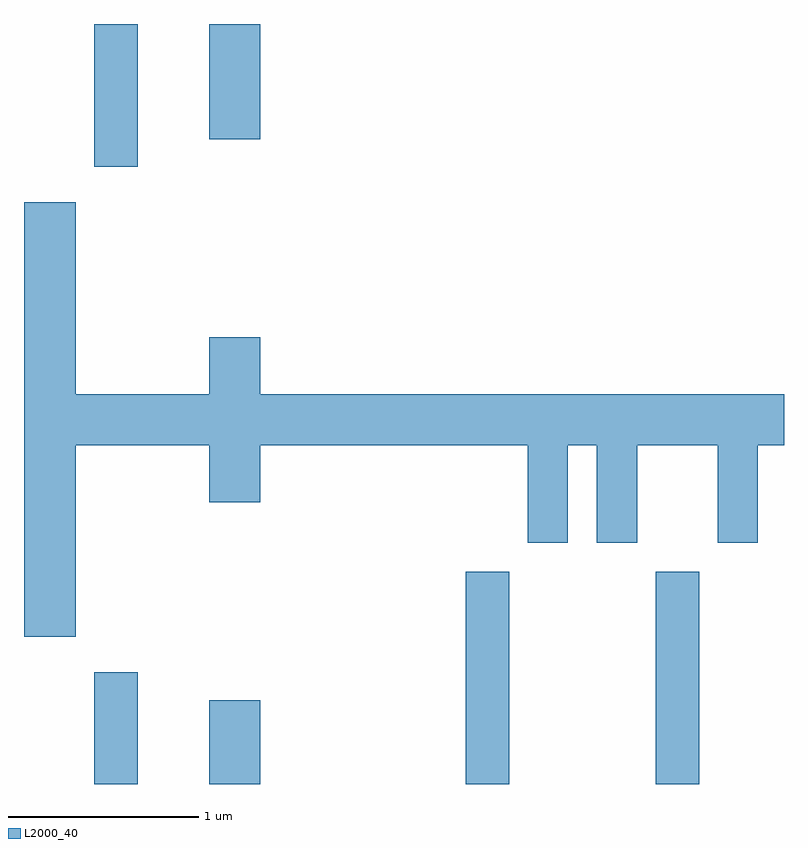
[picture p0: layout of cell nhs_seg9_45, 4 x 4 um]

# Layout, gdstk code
import gdstk
lib = gdstk.Library(unit=1e-6, precision=1e-09)
def R(c, l, rs):  # rectangles x0, y0, x1, y1
    for r in rs: c.add(gdstk.rectangle(r[:2], r[2:], *l))
def P(c, l, *ps):  # polygons
    for p in ps: c.add(gdstk.Polygon(p, *l))
L2000_40 = (2000, 40)

nhs_seg9_45 = lib.new_cell('nhs_seg9_45')
R(nhs_seg9_45, L2000_40, [(185.981,2034.432,186.209,2035.019), (186.586,2034.432,186.854,2034.874), (187.936,2034.432,188.164,2035.549), (188.936,2034.432,189.164,2035.549), (185.981,2037.681,186.209,2038.432), (186.586,2037.826,186.854,2038.432)])
P(nhs_seg9_45, L2000_40, [(185.884,2036.216),(186.586,2036.216),(186.586,2035.916),(186.854,2035.916),(186.854,2036.216),(188.261,2036.216),(188.261,2035.701),(188.474,2035.701),(188.474,2036.216),(188.626,2036.216),(188.626,2035.701),(188.839,2035.701),(188.839,2036.216),(189.261,2036.216),(189.261,2035.701),(189.474,2035.701),(189.474,2036.216),(189.611,2036.216),(189.611,2036.484),(186.854,2036.484),(186.854,2036.784),(186.586,2036.784),(186.586,2036.484),(185.884,2036.484),(185.884,2037.494),(185.611,2037.494),(185.611,2035.206),(185.884,2035.206)])

lib.write_gds('nhs_seg9_45.gds')
